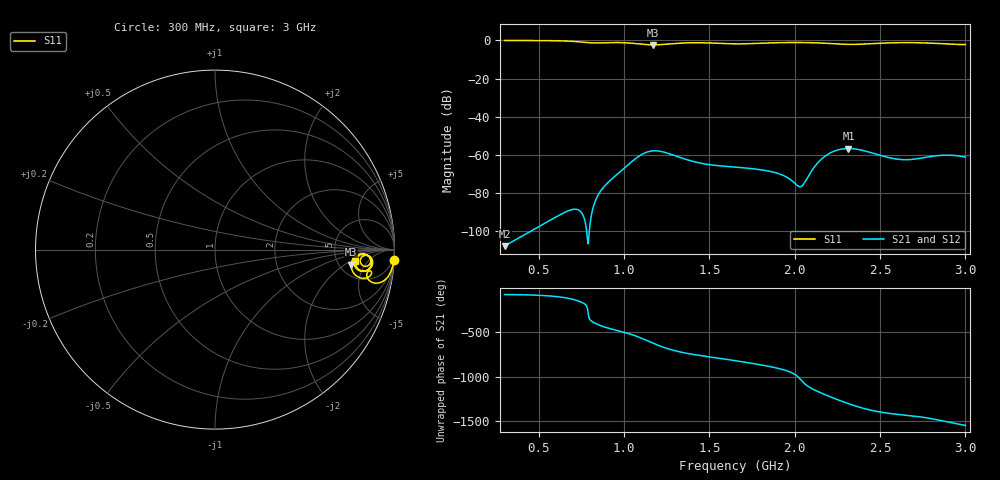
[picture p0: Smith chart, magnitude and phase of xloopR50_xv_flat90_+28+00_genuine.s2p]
! xloopR50_xv_flat90_+28+00_genuine, gap C 0.80 pF
! simulated by sim/fixtures_fdtd.py (S12 = S21, S22 not computed)
# HZ S RI R 50
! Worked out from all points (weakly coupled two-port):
!   541 points, 300 MHz to 3 GHz, reference 50 ohm
!   highest |S21| = -56.77 dB at 2.315 GHz (marker M1); lowest = -108.1 dB at 300 MHz (marker M2)
!   lowest |S11| = -2.3 dB at 1.17 GHz (marker M3), VSWR 7.47, Z = 321 - j129 ohm
!   |S11| at or under -10 dB: nowhere
!   |S22| runs from - to - dB; largest |S21 - S12| = 0
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3e8  0.9966 -0.0573  1.1e-06 -3.8e-06  1.1e-06 -3.8e-06  0 0
6e8  0.9703 -0.1416  -2.4e-06 -2.29e-05  -2.4e-06 -2.29e-05  0 0
7.5e8  0.8848 -0.1855  -2.84e-05 -1.05e-05  -2.84e-05 -1.05e-05  0 0
8.55e8  0.8536 -0.1223  5.3e-05 -8.37e-05  5.3e-05 -8.37e-05  0 0
1.065e9  0.8143 -0.1583  -0.00077 -3.68e-05  -0.00077 -3.68e-05  0 0
1.12e9  0.7732 -0.1318  -0.000854 0.000696  -0.000854 0.000696  0 0
1.17e9  0.7594 -0.0837  -0.0002 0.00125  -0.0002 0.00125  0 0
1.2e9  0.7682 -0.0554  0.000317 0.00121  0.000317 0.00121  0 0
1.445e9  0.8666 -0.0719  0.000466 -0.000382  0.000466 -0.000382  0 0
1.65e9  0.8097 -0.0684  -5.74e-05 -0.000468  -5.74e-05 -0.000468  0 0
1.895e9  0.8707 -0.0469  -0.000329 2.4e-06  -0.000329 2.4e-06  0 0
1.955e9  0.8778 -0.0631  -0.000216 0.000134  -0.000216 0.000134  0 0
2.03e9  0.8764 -0.0856  7.25e-05 0.000124  7.25e-05 0.000124  0 0
2.05e9  0.874 -0.0916  0.000156 5.17e-05  0.000156 5.17e-05  0 0
2.1e9  0.8639 -0.1055  0.000237 -0.000297  0.000237 -0.000297  0 0
2.145e9  0.8494 -0.1152  -2.98e-05 -0.00068  -2.98e-05 -0.00068  0 0
2.195e9  0.8275 -0.1193  -0.000705 -0.000748  -0.000705 -0.000748  0 0
2.315e9  0.7817 -0.0766  -0.00109 0.000955  -0.00109 0.000955  0 0
2.55e9  0.8624 -0.0433  0.000726 0.000426  0.000726 0.000426  0 0
2.665e9  0.8714 -0.0812  0.000735 8.27e-05  0.000735 8.27e-05  0 0
2.825e9  0.8289 -0.121  0.000729 -0.000581  0.000729 -0.000581  0 0
3e9  0.7773 -0.0658  -0.000242 -0.000831  -0.000242 -0.000831  0 0
